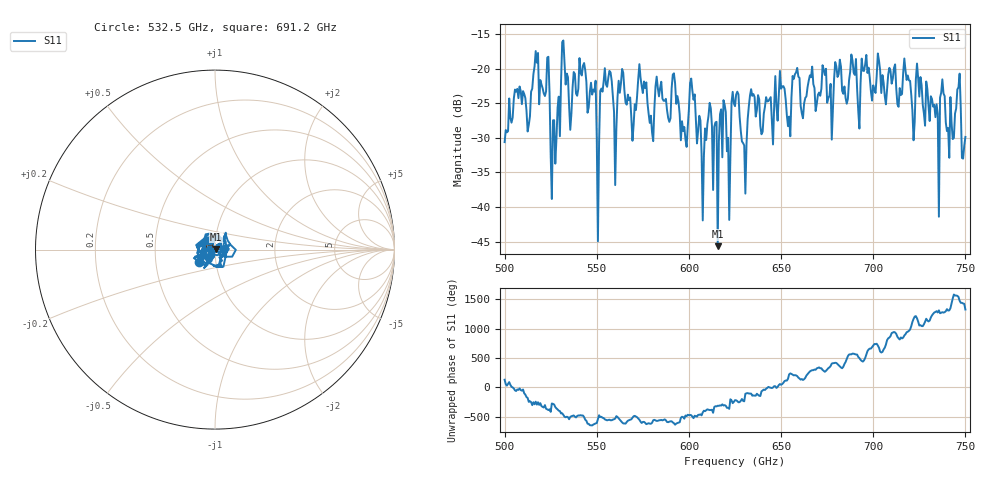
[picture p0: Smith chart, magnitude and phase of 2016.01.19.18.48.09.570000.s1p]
!Created with skrf (http://scikit-rf.org).
# GHz S RI R 50.0
!freq ReS11 ImS11
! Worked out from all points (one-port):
!   401 points, 500 GHz to 750 GHz, reference 50 ohm
!   lowest |S11| = -45.7 dB at 615.6 GHz (marker M1), VSWR 1.01, Z = 50.4 + j0.375 ohm
!   |S11| at or under -10 dB: start of sweep to end of sweep
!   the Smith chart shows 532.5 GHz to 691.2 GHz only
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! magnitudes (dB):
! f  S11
! 500 GHz  -30.6
! 506.9 GHz  -22.9
! 513.1 GHz  -28.1
! 516.9 GHz  -17.5
! 523.1 GHz  -18.4
! 526.2 GHz  -27.5
! 531.2 GHz  -16.2
! 548.1 GHz  -23.0
! 551.2 GHz  -30.9
! 553.1 GHz  -23.3
! 560 GHz  -36.8
! 562.5 GHz  -23.5
! 570 GHz  -28.1
! 574.4 GHz  -22.5
! 579.4 GHz  -26.8
! 593.8 GHz  -24.0
! 615.6 GHz  -45.7
! 618.8 GHz  -24.6
! 621.9 GHz  -41.9
! 625 GHz  -25.4
! 630 GHz  -31.1
! 634.4 GHz  -23.9
! 656.2 GHz  -21.1
! 687.5 GHz  -20.4
! 718.8 GHz  -21.0
! 734.4 GHz  -25.2
! 746.2 GHz  -22.7
! 750 GHz  -29.9
